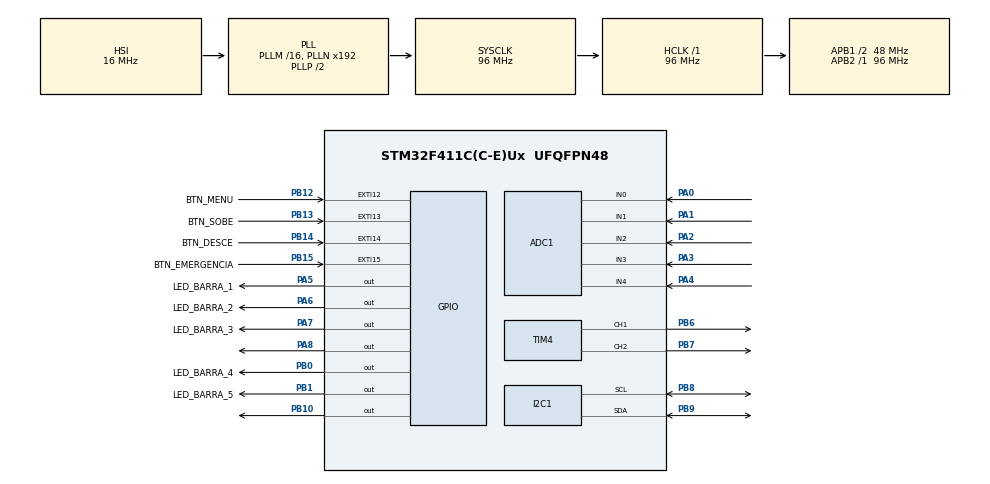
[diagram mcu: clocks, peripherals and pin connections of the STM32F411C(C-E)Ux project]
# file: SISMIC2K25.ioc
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ADC1.Channel-0\#ChannelRegularConversion=ADC_CHANNEL_0
ADC1.Channel-1\#ChannelInjectedConversion=ADC_CHANNEL_0
ADC1.Channel-2\#ChannelInjectedConversion=ADC_CHANNEL_0
ADC1.Channel-3\#ChannelInjectedConversion=ADC_CHANNEL_0
ADC1.Channel-4\#ChannelInjectedConversion=ADC_CHANNEL_0
ADC1.InjNumberOfConversion=4
ADC1.InjectedOffset-1\#ChannelInjectedConversion=0
ADC1.InjectedOffset-2\#ChannelInjectedConversion=0
ADC1.InjectedOffset-3\#ChannelInjectedConversion=0
ADC1.InjectedOffset-4\#ChannelInjectedConversion=0
ADC1.InjectedRank-1\#ChannelInjectedConversion=1
ADC1.InjectedRank-2\#ChannelInjectedConversion=2
ADC1.InjectedRank-3\#ChannelInjectedConversion=3
ADC1.InjectedRank-4\#ChannelInjectedConversion=4
ADC1.NbrOfConversionFlag=1
ADC1.Rank-0\#ChannelRegularConversion=1
ADC1.SamplingTime-0\#ChannelRegularConversion=ADC_SAMPLETIME_3CYCLES
ADC1.SamplingTime-1\#ChannelInjectedConversion=ADC_SAMPLETIME_3CYCLES
ADC1.SamplingTime-2\#ChannelInjectedConversion=ADC_SAMPLETIME_3CYCLES
ADC1.SamplingTime-3\#ChannelInjectedConversion=ADC_SAMPLETIME_3CYCLES
ADC1.SamplingTime-4\#ChannelInjectedConversion=ADC_SAMPLETIME_3CYCLES
ADC1.master=1
Mcu.Family=STM32F4
Mcu.Name=STM32F411C(C-E)Ux
Mcu.Package=UFQFPN48
NVIC.EXTI15_10_IRQn=true\:0\:0\:false\:false\:true\:true\:true\:true
NVIC.PriorityGroup=NVIC_PRIORITYGROUP_4
NVIC.TIM2_IRQn=true\:0\:0\:false\:false\:true\:true\:true\:true
NVIC.TIM3_IRQn=true\:0\:0\:false\:false\:true\:true\:true\:true
PA0-WKUP.Signal=ADCx_IN0
PA1.Signal=ADCx_IN1
PA13.Mode=Serial_Wire
PA13.Signal=SYS_JTMS-SWDIO
PA14.Mode=Serial_Wire
PA14.Signal=SYS_JTCK-SWCLK
PA2.Signal=ADCx_IN2
PA3.Signal=ADCx_IN3
PA4.Signal=ADCx_IN4
PA5.GPIO_Label=LED_BARRA_1
PA5.Signal=GPIO_Output
PA6.GPIO_Label=LED_BARRA_2
PA6.Signal=GPIO_Output
PA7.GPIO_Label=LED_BARRA_3
PA7.Signal=GPIO_Output
PA8.Signal=GPIO_Output
PB0.GPIO_Label=LED_BARRA_4
PB0.Signal=GPIO_Output
PB1.GPIO_Label=LED_BARRA_5
PB1.Signal=GPIO_Output
PB10.Signal=GPIO_Output
PB12.GPIO_Label=BTN_MENU
PB12.GPIO_ModeDefaultEXTI=GPIO_MODE_IT_FALLING
PB12.GPIO_PuPd=GPIO_PULLUP
PB12.Signal=GPXTI12
PB13.GPIO_Label=BTN_SOBE
PB13.GPIO_ModeDefaultEXTI=GPIO_MODE_IT_FALLING
PB13.GPIO_PuPd=GPIO_PULLUP
PB13.Signal=GPXTI13
PB14.GPIO_Label=BTN_DESCE
PB14.GPIO_ModeDefaultEXTI=GPIO_MODE_IT_FALLING
PB14.GPIO_PuPd=GPIO_PULLUP
PB14.Signal=GPXTI14
PB15.GPIO_Label=BTN_EMERGENCIA
PB15.GPIO_ModeDefaultEXTI=GPIO_MODE_IT_FALLING
PB15.GPIO_PuPd=GPIO_PULLUP
PB15.Signal=GPXTI15
PB6.Signal=S_TIM4_CH1
PB7.Signal=S_TIM4_CH2
PB8.Mode=I2C
PB8.Signal=I2C1_SCL
PB9.Mode=I2C
PB9.Signal=I2C1_SDA
PC14-OSC32_IN.Mode=LSE-External-Oscillator
PC14-OSC32_IN.Signal=RCC_OSC32_IN
PC15-OSC32_OUT.Mode=LSE-External-Oscillator
PC15-OSC32_OUT.Signal=RCC_OSC32_OUT
PH0\ -\ OSC_IN.Mode=HSE-External-Oscillator
PH0\ -\ OSC_IN.Signal=RCC_OSC_IN
PH1\ -\ OSC_OUT.Mode=HSE-External-Oscillator
PH1\ -\ OSC_OUT.Signal=RCC_OSC_OUT
ProjectManager.HeapSize=0x200
ProjectManager.StackSize=0x400
ProjectManager.TargetToolchain=STM32CubeIDE
RCC.AHBFreq_Value=96000000
RCC.APB1CLKDivider=RCC_HCLK_DIV2
RCC.APB1Freq_Value=48000000
RCC.APB1TimFreq_Value=96000000
RCC.APB2Freq_Value=96000000
RCC.APB2TimFreq_Value=96000000
RCC.CortexFreq_Value=96000000
RCC.HCLKFreq_Value=96000000
RCC.HSE_VALUE=25000000
RCC.HSI_VALUE=16000000
RCC.SYSCLKFreq_VALUE=96000000
RCC.SYSCLKSource=RCC_SYSCLKSOURCE_PLLCLK
RCC.VCOOutputFreq_Value=192000000
SH.ADCx_IN0.0=ADC1_IN0,IN0
SH.ADCx_IN1.0=ADC1_IN1,IN1
SH.ADCx_IN2.0=ADC1_IN2,IN2
SH.ADCx_IN3.0=ADC1_IN3,IN3
SH.ADCx_IN4.0=ADC1_IN4,IN4
SH.S_TIM4_CH1.0=TIM4_CH1,PWM Generation1 CH1
SH.S_TIM4_CH2.0=TIM4_CH2,PWM Generation2 CH2
TIM2.AutoReloadPreload=TIM_AUTORELOAD_PRELOAD_ENABLE
TIM2.Period=1999
TIM2.Prescaler=41999
TIM3.AutoReloadPreload=TIM_AUTORELOAD_PRELOAD_ENABLE
TIM3.Period=999
TIM3.Prescaler=41999
TIM4.Channel-PWM\ Generation1\ CH1=TIM_CHANNEL_1
TIM4.Channel-PWM\ Generation2\ CH2=TIM_CHANNEL_2
VP_TIM2_VS_ClockSourceINT.Mode=Internal
VP_TIM3_VS_ClockSourceINT.Mode=Internal
VP_TIM4_VS_ClockSourceINT.Mode=Internal
board=custom

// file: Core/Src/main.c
/* USER CODE BEGIN Header */
/**
  ******************************************************************************
  * @file           : main.c
  * @brief          : Main program body
  ******************************************************************************
  * @attention
  *
  * Copyright (c) 2025 STMicroelectronics.
  * All rights reserved.
  *
  * This software is licensed under terms that can be found in the LICENSE file
  * in the root directory of this software component.
  * If no LICENSE file comes with this software, it is provided AS-IS.
  *
  ******************************************************************************
  */
/* USER CODE END Header */
#include "main.h"

/* USER CODE BEGIN Includes */

#include "lcd_i2c.h"
#include <stdio.h> // Essencial para sprintf
#include <math.h>  // Para cálculos

/* USER CODE END Includes */

ADC_HandleTypeDef hadc1;
I2C_HandleTypeDef hi2c1;
TIM_HandleTypeDef htim2;
TIM_HandleTypeDef htim3;
TIM_HandleTypeDef htim4;

/* USER CODE BEGIN PV */

// ============================================================================
// 1. MÁQUINA DE ESTADOS
// ============================================================================
typedef enum {
  BOOT, GRID_MODE, SOLAR_MODE, BATTERY_MODE,
  PROT_SOBRECARGA, PROT_TERMICA, EMERGENCIA, ESTADO_SHUTDOWN
} SistemaEstado_t;

volatile SistemaEstado_t estado_atual = BOOT;
volatile SistemaEstado_t estado_anterior = BOOT;

// ============================================================================
// 2. SENSORES FÍSICOS (5 ADCs)
// ============================================================================
float v_rede = 0.0;        // PA0 - Tensão da Rede (0-300V)
float i_carga = 0.0;       // PA1 - Corrente da Carga (0-10A)
float v_solar = 0.0;       // PA2 - Tensão Solar (0-50V)
float temperatura = 0.0;   // PA3 - Temperatura (0-100°C)
float luminosidade = 0.0;  // PA4 - Sensor LDR (0-100%) ← NOVO!
float v_bateria = 12.6;    // Simulado (poderia ser PA5)

// ============================================================================
// 3. MODELOS MATEMÁTICOS E CÁLCULOS
// ============================================================================
float pot_rede = 0.0;
float pot_solar_w = 0.0;
float pot_total_w = 0.0;
float energia_kwh = 0.0;
float custo_reais = 0.0;
float carbono_kg = 0.0;
float soc_bateria = 100.0;
float autonomia_h = 99.0;
float frequencia = 60.0;
float fator_potencia = 0.92;

// ============================================================================
// 4. INTERFACE
// ============================================================================
LCD_HandleTypeDef lcd;       // ← Novo handle da biblioteca profissional
volatile int tela_lcd = 0;   // 0=Geral, 1=Carga, 2=Solar, 3=Bat, 4=Finan, 5=Tec
char buffer_lcd[32];

// ============================================================================
// 5. CONSTANTES DE PROTEÇÃO
// ============================================================================
const float LIMITE_CORRENTE = 8.0;
const float LIMITE_TEMP = 70.0;
const float LIMITE_BLACKOUT = 180.0;
const float LIMITE_BAT_MIN = 10.5;
const float TARIFA = 0.85;

// ============================================================================
// 6. CONTROLE DE INTERRUPÇÕES
// ============================================================================
volatile uint32_t flag_calculo_1s = 0;  // TIM2: Cálculos financeiros a cada 1s
volatile uint32_t ultimo_debounce = 0;  // Anti-repique de botões
volatile uint8_t flag_limpar_lcd = 0;     // Sinaliza que precisa limpar LCD
volatile uint8_t flag_atualizar_tela = 0; // Sinaliza que mudou de tela
volatile uint32_t tempo_botao_pressionado = 0;  // Contador de tempo do botão
volatile uint8_t flag_reset_sistema = 0;        // Sinaliza reset completo

/* USER CODE END PV */

void SystemClock_Config(void);
static void MX_GPIO_Init(void);
static void MX_ADC1_Init(void);
static void MX_I2C1_Init(void);
static void MX_TIM2_Init(void);
static void MX_TIM3_Init(void);
static void MX_TIM4_Init(void);

/* USER CODE BEGIN PFP */

// Funções de Atuadores
void AtualizarBarraLeds(float pct);
void AtualizarCooler(float temp);

uint32_t LerADC(uint32_t canal);

// Funções de Interface
void DesenharTela(void);
void TratarMudancaEstado(void);

/* USER CODE END PFP */

int main(void)
{

  /* MCU Configuration--------------------------------------------------------*/

  /* Reset of all peripherals, Initializes the Flash interface and the Systick. */
  HAL_Init();

  /* Configure the system clock */
  SystemClock_Config();

  /* Initialize all configured peripherals */
  MX_GPIO_Init();
  MX_ADC1_Init();
  MX_I2C1_Init();
  MX_TIM2_Init();
  MX_TIM3_Init();
  MX_TIM4_Init();
  /* USER CODE BEGIN 2 */

  // ============================================================================
    // INICIALIZAÇÃO DO SISTEMA
    // ============================================================================

    // Inicializa LCD (detecta endereço automaticamente)
    if(LCD_Init(&lcd, &hi2c1) != LCD_OK) {
        // LCD falhou! Pisca LED vermelho
        while(1) {
            HAL_GPIO_TogglePin(GPIOA, GPIO_PIN_8);
            HAL_Delay(200);
        }
    }

    // Inicia PWMs
    HAL_TIM_PWM_Start(&htim4, TIM_CHANNEL_1); // Cooler (PB6)
    HAL_TIM_PWM_Start(&htim4, TIM_CHANNEL_2); // LED Solar (PB7)

    // Inicia Interrupções de Timer
    HAL_TIM_Base_Start_IT(&htim2); // 1 segundo (cálculos financeiros)
    HAL_TIM_Base_Start_IT(&htim3); // 0.5 segundo (piscar LED no nobreak)

    // Tela de Abertura
    LCD_Clear(&lcd);
    LCD_PrintAt(&lcd, 0, 0, "SISMIC 2K25 v2.0");
    LCD_PrintAt(&lcd, 1, 0, "Guilherme Wilke");
    HAL_Delay(2000);

    LCD_Clear(&lcd);
    LCD_PrintAt(&lcd, 0, 0, "Inicializando...");
    LCD_PrintAt(&lcd, 1, 0, "[");

    // Barra de progresso de inicialização
    for(int i = 0; i < 14; i++) {
        LCD_Print(&lcd, "=");
        HAL_Delay(100);
    }
    LCD_Print(&lcd, "]");
    HAL_Delay(500);

    LCD_Clear(&lcd);
    estado_atual = GRID_MODE;

  /* USER CODE END 2 */

  /* Infinite loop */
  while (1)
  {

    /* USER CODE BEGIN 3 */

	  // ========================================================================
	      // 1. LEITURA DE SENSORES (5 ADCs)
	      // ========================================================================
	      v_rede = (float)LerADC(ADC_CHANNEL_0) * 0.0732;      // 0-300V
	      i_carga = (float)LerADC(ADC_CHANNEL_1) * 0.00244;    // 0-10A
	      v_solar = (float)LerADC(ADC_CHANNEL_2) * 0.0122;     // 0-50V
	      temperatura = (float)LerADC(ADC_CHANNEL_3) * 0.0244; // 0-100°C
	      luminosidade = (float)LerADC(ADC_CHANNEL_4) * 0.0244; // 0-100%

	      // ========================================================================
	      // 2. MODELOS MATEMÁTICOS E FÍSICA DO SISTEMA
	      // ========================================================================

	      // Modelo 1: Fator de Potência Dinâmico
	      fator_potencia = (i_carga > 1.0) ? 0.95 : 0.80;

	      // Modelo 2: Potência da Rede (P = V × I × FP)
	      float v_calc = (estado_atual == BATTERY_MODE) ? 220.0 : v_rede;
	      pot_rede = v_calc * i_carga * fator_potencia;

	      // Modelo 3: Potência Solar (ajustada por luminosidade)
	      if(v_solar > 12.0 && luminosidade > 20.0) {
	          pot_solar_w = (v_solar * 3.5) * (luminosidade / 100.0); // Afetada pela luz!
	      } else {
	          pot_solar_w = 0.0;
	      }

	      // Modelo 4: Potência Total
	      pot_total_w = pot_rede + pot_solar_w;

	      // Modelo 5 e 6: Simulação de Bateria (Carga/Descarga)
	      if (estado_atual == GRID_MODE || estado_atual == SOLAR_MODE) {
	          if (v_bateria < 13.8) v_bateria += 0.03; // Carregando
	          frequencia = 60.0;
	      } else if (estado_atual == BATTERY_MODE) {
	          float dreno = 0.02 + (i_carga * 0.01);
	          v_bateria -= dreno; // Descarregando
	          if(v_bateria < 0) v_bateria = 0;
	          frequencia = 59.5;
	      }

	      // Modelo 7: Cálculo de Autonomia (Ah × V / I)
	      if(i_carga > 0.5) {
	          autonomia_h = (50.0 * (v_bateria / 12.0)) / i_carga;
	      } else {
	          autonomia_h = 99.0;
	      }

	      // ========================================================================
	      // 3. MÁQUINA DE ESTADOS (8 Estados)
	      // ========================================================================
	      estado_anterior = estado_atual;

	      switch(estado_atual) {
	          case GRID_MODE:
	              HAL_GPIO_WritePin(GPIOB, GPIO_PIN_10, 1); // Verde ON
	              HAL_GPIO_WritePin(GPIOA, GPIO_PIN_8, 0);  // Vermelho OFF

	              // Transições
	              if (pot_solar_w > 50 && v_bateria > 13) estado_atual = SOLAR_MODE;
	              if (v_rede < LIMITE_BLACKOUT) estado_atual = BATTERY_MODE;
	              if (i_carga > LIMITE_CORRENTE) estado_atual = PROT_SOBRECARGA;
	              if (temperatura > LIMITE_TEMP) estado_atual = PROT_TERMICA;
	              break;

	          case SOLAR_MODE:
	              HAL_GPIO_WritePin(GPIOB, GPIO_PIN_10, 1);
	              HAL_GPIO_WritePin(GPIOA, GPIO_PIN_8, 0);

	              if (v_bateria < 12.2 || pot_solar_w < 10) estado_atual = GRID_MODE;
	              if (v_rede < LIMITE_BLACKOUT) estado_atual = BATTERY_MODE;
	              break;

	          case BATTERY_MODE:
	              HAL_GPIO_WritePin(GPIOB, GPIO_PIN_10, 0);
	              // LED vermelho pisca automaticamente via TIM3 (interrupção)

	              if (v_rede > (LIMITE_BLACKOUT + 10)) estado_atual = GRID_MODE;
	              if (v_bateria < LIMITE_BAT_MIN) estado_atual = ESTADO_SHUTDOWN;
	              break;

	          case PROT_SOBRECARGA:
	          case PROT_TERMICA:
	          case ESTADO_SHUTDOWN:
	          case EMERGENCIA:
	              HAL_GPIO_WritePin(GPIOA, GPIO_PIN_8, 1); // Vermelho FIXO
	              HAL_GPIO_WritePin(GPIOB, GPIO_PIN_10, 0);
	              pot_total_w = 0; // Corta carga

	              // Histerese automática (menos emergência)
	              if (i_carga < 1.0 && temperatura < 40.0 && v_rede > 200 && estado_atual != EMERGENCIA) {
	                   estado_atual = GRID_MODE;
	              }
	              break;

	          default:
	              estado_atual = GRID_MODE;
	              break;
	      }

	      // Detecta mudança de estado e atualiza LCD
	      if(estado_atual != estado_anterior) {
	          TratarMudancaEstado();
	      }

	      // ========================================================================
	      // 4. CÁLCULOS FINANCEIROS (executado via interrupção TIM2)
	      // ========================================================================
	      // NOTA: Modelos 8, 9, 10 são calculados em HAL_TIM_PeriodElapsedCallback()

	      if(flag_calculo_1s) {
	          flag_calculo_1s = 0;

	          // Modelo 8: Energia consumida (kWh)
	          energia_kwh += (pot_total_w / 1000.0) / 3600.0;

	          // Modelo 9: Custo financeiro (R$)
	          custo_reais = energia_kwh * TARIFA;

	          // Modelo 10: CO2 evitado (kg)
	          if (estado_atual == SOLAR_MODE) carbono_kg += 0.001;

	          // Modelo 11: State of Charge (%)
	          soc_bateria = ((v_bateria - 10.5) / (13.8 - 10.5)) * 100.0;
	          if(soc_bateria < 0) soc_bateria = 0;
	          if(soc_bateria > 100) soc_bateria = 100;
	      }

	      // ========================================================================
	      // 5. ATUALIZAÇÃO DA INTERFACE LCD
	      // ========================================================================
	      DesenharTela();

	      // ========================================================================
	      // 6. ATUADORES (LEDs e PWM)
	      // ========================================================================
	      if(estado_atual < PROT_SOBRECARGA) {
	          float pct = (pot_total_w * 100.0) / 2200.0;
	          AtualizarBarraLeds(pct);
	          AtualizarCooler(temperatura);

	          // PWM do LED Solar (proporcional à geração e luminosidade)
	          int pwm_solar = (int)(pot_solar_w * 100);
	          if(pwm_solar > 65535) pwm_solar = 65535;
	          __HAL_TIM_SET_COMPARE(&htim4, TIM_CHANNEL_2, pwm_solar);
	      } else {
	          AtualizarBarraLeds(0); // Apaga barra em erro
	          __HAL_TIM_SET_COMPARE(&htim4, TIM_CHANNEL_2, 0);
	      }

	      // ========================================================================
	      // 7. TRATAMENTO DE BOTÃO RESET LONGO (PB14)
	      // ========================================================================
	      // Verifica se o botão PB14 está sendo segurado
	      if(HAL_GPIO_ReadPin(GPIOB, GPIO_PIN_14) == GPIO_PIN_RESET && tempo_botao_pressionado > 0) {
	          uint32_t tempo_segurado = HAL_GetTick() - tempo_botao_pressionado;

	          // Se segurou por mais de 2 segundos
	          if(tempo_segurado >= 2000) {
	              flag_reset_sistema = 1;
	              tempo_botao_pressionado = 0; // Reseta contador
	          }
	      }

	      // Quando o botão é SOLTO
	      if(HAL_GPIO_ReadPin(GPIOB, GPIO_PIN_14) == GPIO_PIN_SET && tempo_botao_pressionado > 0) {
	          uint32_t tempo_segurado = HAL_GetTick() - tempo_botao_pressionado;
	          tempo_botao_pressionado = 0; // Reseta contador

	          // Se foi clique CURTO (menos de 2 segundos) → Reset de contadores
	          if(tempo_segurado < 2000) {
	              energia_kwh = 0.0;
	              custo_reais = 0.0;
	              carbono_kg = 0.0;
	              flag_atualizar_tela = 1;
	          }
	      }

	      // ========================================================================
	      // 8. EXECUÇÃO DO RESET COMPLETO DO SISTEMA
	      // ========================================================================
	      if(flag_reset_sistema) {
	          flag_reset_sistema = 0;

	          // Feedback visual
	          LCD_Clear(&lcd);
	          LCD_PrintAt(&lcd, 0, 0, "RESET SISTEMA");
	          LCD_PrintAt(&lcd, 1, 0, "Reiniciando...");

	          // Desliga todos os LEDs
	          HAL_GPIO_WritePin(GPIOA, GPIO_PIN_8, GPIO_PIN_RESET);
	          HAL_GPIO_WritePin(GPIOB, GPIO_PIN_10, GPIO_PIN_RESET);
	          AtualizarBarraLeds(0);

	          HAL_Delay(1500);

	          // RESET COMPLETO DO ESTADO
	          estado_atual = GRID_MODE;
	          estado_anterior = BOOT;

	          // Reseta variáveis críticas
	          v_bateria = 12.6;
	          pot_total_w = 0;

	          // Liga LED verde
	          HAL_GPIO_WritePin(GPIOB, GPIO_PIN_10, GPIO_PIN_SET);
	          HAL_GPIO_WritePin(GPIOA, GPIO_PIN_8, GPIO_PIN_RESET);

	          // Limpa LCD e volta ao normal
	          LCD_Clear(&lcd);
	          LCD_PrintAt(&lcd, 0, 0, "Sistema OK!");
	          LCD_PrintAt(&lcd, 1, 0, "Modo Rede Ativo");
	          HAL_Delay(1500);
	          LCD_Clear(&lcd);
	      }

	      // ========================================================================
	      // 9. RECOVERY AUTOMÁTICO DE SHUTDOWN (Bateria Vazia)
	      // ========================================================================
	      // Se está em SHUTDOWN mas a rede voltou, sai automaticamente
	      if(estado_atual == ESTADO_SHUTDOWN) {
	          if(v_rede > 200.0) {  // Se a rede voltou com tensão boa
	              // Simula que a bateria começou a carregar
	              v_bateria = 11.0;  // Valor acima do mínimo (10.5V)

	              // Volta para GRID_MODE
	              estado_atual = GRID_MODE;

	              // Feedback visual
	              LCD_Clear(&lcd);
	              LCD_PrintAt(&lcd, 0, 0, "REDE RESTAURADA!");
	              LCD_PrintAt(&lcd, 1, 0, "Carregando Bat..");
	              HAL_Delay(2000);
	              LCD_Clear(&lcd);
	          }
	      }

	      // ========================================================================
	      // 10. TRATAMENTO DE FLAGS DE INTERFACE
	      // ========================================================================
	      if(flag_limpar_lcd) {
	          flag_limpar_lcd = 0;
	          LCD_Clear(&lcd);
	      }

	      if(flag_atualizar_tela) {
	          flag_atualizar_tela = 0;

	          if(estado_atual == EMERGENCIA) {
	              LCD_Clear(&lcd);
	              LCD_PrintAt(&lcd, 0, 0, "! EMERGENCIA !");
	              LCD_PrintAt(&lcd, 1, 0, "Segure Reset 2s");  // ← DICA PARA O USUÁRIO!
	              HAL_Delay(2000);
	          } else {
	              LCD_Clear(&lcd);
	              LCD_PrintAt(&lcd, 0, 0, "CONTADORES");
	              LCD_PrintAt(&lcd, 1, 0, "RESETADOS!");
	              HAL_Delay(1000);
	              LCD_Clear(&lcd);
	          }
	      }

	      HAL_Delay(100); // Loop a 10Hz

  }
  /* USER CODE END 3 */
}

void SystemClock_Config(void)
{
  RCC_OscInitTypeDef RCC_OscInitStruct = {0};
  RCC_ClkInitTypeDef RCC_ClkInitStruct = {0};

  /** Configure the main internal regulator output voltage
  */
  __HAL_RCC_PWR_CLK_ENABLE();
  __HAL_PWR_VOLTAGESCALING_CONFIG(PWR_REGULATOR_VOLTAGE_SCALE1);

  /** Initializes the RCC Oscillators according to the specified parameters
  * in the RCC_OscInitTypeDef structure.
  */
  RCC_OscInitStruct.OscillatorType = RCC_OSCILLATORTYPE_HSI;
  RCC_OscInitStruct.HSIState = RCC_HSI_ON;
  RCC_OscInitStruct.HSICalibrationValue = RCC_HSICALIBRATION_DEFAULT;
  RCC_OscInitStruct.PLL.PLLState = RCC_PLL_ON;
  RCC_OscInitStruct.PLL.PLLSource = RCC_PLLSOURCE_HSI;
  RCC_OscInitStruct.PLL.PLLM = 16;
  RCC_OscInitStruct.PLL.PLLN = 192;
  RCC_OscInitStruct.PLL.PLLP = RCC_PLLP_DIV2;
  RCC_OscInitStruct.PLL.PLLQ = 4;
  if (HAL_RCC_OscConfig(&RCC_OscInitStruct) != HAL_OK)
  {
    Error_Handler();
  }

  /** Initializes the CPU, AHB and APB buses clocks
  */
  RCC_ClkInitStruct.ClockType = RCC_CLOCKTYPE_HCLK|RCC_CLOCKTYPE_SYSCLK
                              |RCC_CLOCKTYPE_PCLK1|RCC_CLOCKTYPE_PCLK2;
  RCC_ClkInitStruct.SYSCLKSource = RCC_SYSCLKSOURCE_PLLCLK;
  RCC_ClkInitStruct.AHBCLKDivider = RCC_SYSCLK_DIV1;
  RCC_ClkInitStruct.APB1CLKDivider = RCC_HCLK_DIV2;
  RCC_ClkInitStruct.APB2CLKDivider = RCC_HCLK_DIV1;

  if (HAL_RCC_ClockConfig(&RCC_ClkInitStruct, FLASH_LATENCY_3) != HAL_OK)
  {
    Error_Handler();
  }
}

static void MX_ADC1_Init(void)
{

  ADC_ChannelConfTypeDef sConfig = {0};
  ADC_InjectionConfTypeDef sConfigInjected = {0};

  /** Configure the global features of the ADC (Clock, Resolution, Data Alignment and number of conversion)
  */
  hadc1.Instance = ADC1;
  hadc1.Init.ClockPrescaler = ADC_CLOCK_SYNC_PCLK_DIV4;
  hadc1.Init.Resolution = ADC_RESOLUTION_12B;
  hadc1.Init.ScanConvMode = ENABLE;
  hadc1.Init.ContinuousConvMode = DISABLE;
  hadc1.Init.DiscontinuousConvMode = DISABLE;
  hadc1.Init.ExternalTrigConvEdge = ADC_EXTERNALTRIGCONVEDGE_NONE;
  hadc1.Init.ExternalTrigConv = ADC_SOFTWARE_START;
  hadc1.Init.DataAlign = ADC_DATAALIGN_RIGHT;
  hadc1.Init.NbrOfConversion = 1;
  hadc1.Init.DMAContinuousRequests = DISABLE;
  hadc1.Init.EOCSelection = ADC_EOC_SINGLE_CONV;
  if (HAL_ADC_Init(&hadc1) != HAL_OK)
  {
    Error_Handler();
  }

  /** Configure for the selected ADC regular channel its corresponding rank in the sequencer and its sample time.
  */
  sConfig.Channel = ADC_CHANNEL_0;
  sConfig.Rank = 1;
  sConfig.SamplingTime = ADC_SAMPLETIME_3CYCLES;
  if (HAL_ADC_ConfigChannel(&hadc1, &sConfig) != HAL_OK)
  {
    Error_Handler();
  }

  /** Configures for the selected ADC injected channel its corresponding rank in the sequencer and its sample time
  */
  sConfigInjected.InjectedChannel = ADC_CHANNEL_0;
  sConfigInjected.InjectedRank = 1;
  sConfigInjected.InjectedNbrOfConversion = 4;
  sConfigInjected.InjectedSamplingTime = ADC_SAMPLETIME_3CYCLES;
  sConfigInjected.ExternalTrigInjecConvEdge = ADC_EXTERNALTRIGINJECCONVEDGE_NONE;
  sConfigInjected.ExternalTrigInjecConv = ADC_INJECTED_SOFTWARE_START;
  sConfigInjected.AutoInjectedConv = DISABLE;
  sConfigInjected.InjectedDiscontinuousConvMode = DISABLE;
  sConfigInjected.InjectedOffset = 0;
  if (HAL_ADCEx_InjectedConfigChannel(&hadc1, &sConfigInjected) != HAL_OK)
  {
    Error_Handler();
  }

  /** Configures for the selected ADC injected channel its corresponding rank in the sequencer and its sample time
  */
  sConfigInjected.InjectedRank = 2;
  if (HAL_ADCEx_InjectedConfigChannel(&hadc1, &sConfigInjected) != HAL_OK)
  {
    Error_Handler();
  }

  /** Configures for the selected ADC injected channel its corresponding rank in the sequencer and its sample time
  */
  sConfigInjected.InjectedRank = 3;
  if (HAL_ADCEx_InjectedConfigChannel(&hadc1, &sConfigInjected) != HAL_OK)
  {
    Error_Handler();
  }

  /** Configures for the selected ADC injected channel its corresponding rank in the sequencer and its sample time
  */
  sConfigInjected.InjectedRank = 4;
  if (HAL_ADCEx_InjectedConfigChannel(&hadc1, &sConfigInjected) != HAL_OK)
  {
    Error_Handler();
  }

}

static void MX_I2C1_Init(void)
{

  hi2c1.Instance = I2C1;
  hi2c1.Init.ClockSpeed = 100000;
  hi2c1.Init.DutyCycle = I2C_DUTYCYCLE_2;
  hi2c1.Init.OwnAddress1 = 0;
  hi2c1.Init.AddressingMode = I2C_ADDRESSINGMODE_7BIT;
  hi2c1.Init.DualAddressMode = I2C_DUALADDRESS_DISABLE;
  hi2c1.Init.OwnAddress2 = 0;
  hi2c1.Init.GeneralCallMode = I2C_GENERALCALL_DISABLE;
  hi2c1.Init.NoStretchMode = I2C_NOSTRETCH_DISABLE;
  if (HAL_I2C_Init(&hi2c1) != HAL_OK)
  {
    Error_Handler();
  }

}

static void MX_TIM2_Init(void)
{

  TIM_ClockConfigTypeDef sClockSourceConfig = {0};
  TIM_MasterConfigTypeDef sMasterConfig = {0};

  htim2.Instance = TIM2;
  htim2.Init.Prescaler = 41999;
  htim2.Init.CounterMode = TIM_COUNTERMODE_UP;
  htim2.Init.Period = 1999;
  htim2.Init.ClockDivision = TIM_CLOCKDIVISION_DIV1;
  htim2.Init.AutoReloadPreload = TIM_AUTORELOAD_PRELOAD_ENABLE;
  if (HAL_TIM_Base_Init(&htim2) != HAL_OK)
  {
    Error_Handler();
  }
  sClockSourceConfig.ClockSource = TIM_CLOCKSOURCE_INTERNAL;
  if (HAL_TIM_ConfigClockSource(&htim2, &sClockSourceConfig) != HAL_OK)
  {
    Error_Handler();
  }
  sMasterConfig.MasterOutputTrigger = TIM_TRGO_RESET;
  sMasterConfig.MasterSlaveMode = TIM_MASTERSLAVEMODE_DISABLE;
  if (HAL_TIMEx_MasterConfigSynchronization(&htim2, &sMasterConfig) != HAL_OK)
  {
    Error_Handler();
  }

}

static void MX_TIM3_Init(void)
{

  TIM_ClockConfigTypeDef sClockSourceConfig = {0};
  TIM_MasterConfigTypeDef sMasterConfig = {0};

  htim3.Instance = TIM3;
  htim3.Init.Prescaler = 41999;
  htim3.Init.CounterMode = TIM_COUNTERMODE_UP;
  htim3.Init.Period = 999;
  htim3.Init.ClockDivision = TIM_CLOCKDIVISION_DIV1;
  htim3.Init.AutoReloadPreload = TIM_AUTORELOAD_PRELOAD_ENABLE;
  if (HAL_TIM_Base_Init(&htim3) != HAL_OK)
  {
    Error_Handler();
  }
  sClockSourceConfig.ClockSource = TIM_CLOCKSOURCE_INTERNAL;
  if (HAL_TIM_ConfigClockSource(&htim3, &sClockSourceConfig) != HAL_OK)
  {
    Error_Handler();
  }
  sMasterConfig.MasterOutputTrigger = TIM_TRGO_RESET;
  sMasterConfig.MasterSlaveMode = TIM_MASTERSLAVEMODE_DISABLE;
  if (HAL_TIMEx_MasterConfigSynchronization(&htim3, &sMasterConfig) != HAL_OK)
  {
    Error_Handler();
  }

}

static void MX_TIM4_Init(void)
{

  TIM_ClockConfigTypeDef sClockSourceConfig = {0};
  TIM_MasterConfigTypeDef sMasterConfig = {0};
  TIM_OC_InitTypeDef sConfigOC = {0};

  htim4.Instance = TIM4;
  htim4.Init.Prescaler = 0;
  htim4.Init.CounterMode = TIM_COUNTERMODE_UP;
  htim4.Init.Period = 65535;
  htim4.Init.ClockDivision = TIM_CLOCKDIVISION_DIV1;
  htim4.Init.AutoReloadPreload = TIM_AUTORELOAD_PRELOAD_DISABLE;
  if (HAL_TIM_Base_Init(&htim4) != HAL_OK)
  {
    Error_Handler();
  }
  sClockSourceConfig.ClockSource = TIM_CLOCKSOURCE_INTERNAL;
  if (HAL_TIM_ConfigClockSource(&htim4, &sClockSourceConfig) != HAL_OK)
  {
    Error_Handler();
  }
  if (HAL_TIM_PWM_Init(&htim4) != HAL_OK)
  {
    Error_Handler();
  }
  sMasterConfig.MasterOutputTrigger = TIM_TRGO_RESET;
  sMasterConfig.MasterSlaveMode = TIM_MASTERSLAVEMODE_DISABLE;
  if (HAL_TIMEx_MasterConfigSynchronization(&htim4, &sMasterConfig) != HAL_OK)
  {
    Error_Handler();
  }
  sConfigOC.OCMode = TIM_OCMODE_PWM1;
  sConfigOC.Pulse = 0;
  sConfigOC.OCPolarity = TIM_OCPOLARITY_HIGH;
  sConfigOC.OCFastMode = TIM_OCFAST_DISABLE;
  if (HAL_TIM_PWM_ConfigChannel(&htim4, &sConfigOC, TIM_CHANNEL_1) != HAL_OK)
  {
    Error_Handler();
  }
  if (HAL_TIM_PWM_ConfigChannel(&htim4, &sConfigOC, TIM_CHANNEL_2) != HAL_OK)
  {
    Error_Handler();
  }
  HAL_TIM_MspPostInit(&htim4);

}

static void MX_GPIO_Init(void)
{
  GPIO_InitTypeDef GPIO_InitStruct = {0};

  /* GPIO Ports Clock Enable */
  __HAL_RCC_GPIOC_CLK_ENABLE();
  __HAL_RCC_GPIOH_CLK_ENABLE();
  __HAL_RCC_GPIOA_CLK_ENABLE();
  __HAL_RCC_GPIOB_CLK_ENABLE();

  /*Configure GPIO pin Output Level */
  HAL_GPIO_WritePin(GPIOA, LED_BARRA_1_Pin|LED_BARRA_2_Pin|LED_BARRA_3_Pin|GPIO_PIN_8, GPIO_PIN_RESET);

  /*Configure GPIO pin Output Level */
  HAL_GPIO_WritePin(GPIOB, LED_BARRA_4_Pin|LED_BARRA_5_Pin|GPIO_PIN_10, GPIO_PIN_RESET);

  /*Configure GPIO pins : LED_BARRA_1_Pin LED_BARRA_2_Pin LED_BARRA_3_Pin PA8 */
  GPIO_InitStruct.Pin = LED_BARRA_1_Pin|LED_BARRA_2_Pin|LED_BARRA_3_Pin|GPIO_PIN_8;
  GPIO_InitStruct.Mode = GPIO_MODE_OUTPUT_PP;
  GPIO_InitStruct.Pull = GPIO_NOPULL;
  GPIO_InitStruct.Speed = GPIO_SPEED_FREQ_LOW;
  HAL_GPIO_Init(GPIOA, &GPIO_InitStruct);

  /*Configure GPIO pins : LED_BARRA_4_Pin LED_BARRA_5_Pin PB10 */
  GPIO_InitStruct.Pin = LED_BARRA_4_Pin|LED_BARRA_5_Pin|GPIO_PIN_10;
  GPIO_InitStruct.Mode = GPIO_MODE_OUTPUT_PP;
  GPIO_InitStruct.Pull = GPIO_NOPULL;
  GPIO_InitStruct.Speed = GPIO_SPEED_FREQ_LOW;
  HAL_GPIO_Init(GPIOB, &GPIO_InitStruct);

  /*Configure GPIO pins : BTN_MENU_Pin BTN_SOBE_Pin BTN_DESCE_Pin BTN_EMERGENCIA_Pin */
  GPIO_InitStruct.Pin = BTN_MENU_Pin|BTN_SOBE_Pin|BTN_DESCE_Pin|BTN_EMERGENCIA_Pin;
  GPIO_InitStruct.Mode = GPIO_MODE_IT_FALLING;
  GPIO_InitStruct.Pull = GPIO_PULLUP;
  HAL_GPIO_Init(GPIOB, &GPIO_InitStruct);

  /* EXTI interrupt init*/
  HAL_NVIC_SetPriority(EXTI15_10_IRQn, 0, 0);
  HAL_NVIC_EnableIRQ(EXTI15_10_IRQn);

}

/* USER CODE BEGIN 4 */

// ============================================================================
// FUNÇÕES DE INTERFACE
// ============================================================================

void DesenharTela(void) {
    static uint32_t ultimo_update = 0;

    if((HAL_GetTick() - ultimo_update) < 500) return;
    ultimo_update = HAL_GetTick();

    LCD_SetCursor(&lcd, 0, 0);

    // TELAS DE ERRO - Com instruções de recovery
    if (estado_atual >= PROT_SOBRECARGA) {
        LCD_PrintAt(&lcd, 0, 0, "! FALHA ATIVA !");
        LCD_SetCursor(&lcd, 1, 0);

        switch(estado_atual) {
            case EMERGENCIA:
                LCD_Print(&lcd, "Segure Reset 2s  "); // ← Instrução de reset
                break;
            case PROT_SOBRECARGA:
                LCD_Print(&lcd, "SOBRECORRENTE!  ");
                break;
            case PROT_TERMICA:
                LCD_Print(&lcd, "SOBREAQUECIMENTO");
                break;
            case ESTADO_SHUTDOWN:
                LCD_Print(&lcd, "Aguarde Rede... "); // ← Indica que vai sair automaticamente
                break;
            default:
                LCD_Print(&lcd, "ERRO SISTEMA    ");
                break;
        }
    } else {
        // Telas normais (6 opções) - MANTÉM IGUAL
        int bat_i = (int)v_bateria;
        int bat_d = (int)((v_bateria - bat_i)*10);

        switch(tela_lcd) {
            case 0: // GERAL
                if(estado_atual == GRID_MODE)
                    sprintf(buffer_lcd, "REDE OK  B:%d.%dV", bat_i, bat_d);
                else if(estado_atual == BATTERY_MODE)
                    sprintf(buffer_lcd, "NOBREAK! B:%d.%dV", bat_i, bat_d);
                else
                    sprintf(buffer_lcd, "MODO SOLAR ECO  ");

                LCD_Print(&lcd, buffer_lcd);
                LCD_SetCursor(&lcd, 1, 0);
                sprintf(buffer_lcd, "%3dV %4dW %2dC", (int)v_rede, (int)pot_total_w, (int)temperatura);
                LCD_Print(&lcd, buffer_lcd);
                break;

            case 1: // CARGA
                LCD_Print(&lcd, "MONITOR CARGA:  ");
                LCD_SetCursor(&lcd, 1, 0);
                sprintf(buffer_lcd, "%4dW  %d.%02dA    ", (int)pot_total_w, (int)i_carga, (int)((i_carga-(int)i_carga)*100));
                LCD_Print(&lcd, buffer_lcd);
                break;

            case 2: // SOLAR
                LCD_Print(&lcd, "GERACAO SOLAR:  ");
                LCD_SetCursor(&lcd, 1, 0);
                sprintf(buffer_lcd, "%4dW Luz:%d%%   ", (int)pot_solar_w, (int)luminosidade);
                LCD_Print(&lcd, buffer_lcd);
                break;

            case 3: // BATERIA
                LCD_Print(&lcd, "BANCO BATERIAS: ");
                LCD_SetCursor(&lcd, 1, 0);
                sprintf(buffer_lcd, "%d.%dV Auto:%dh  ", bat_i, bat_d, (int)autonomia_h);
                LCD_Print(&lcd, buffer_lcd);
                break;

            case 4: // FINANCEIRO
                sprintf(buffer_lcd, "Gasto:R$%d.%02d  ", (int)custo_reais, (int)((custo_reais-(int)custo_reais)*100));
                LCD_Print(&lcd, buffer_lcd);
                LCD_SetCursor(&lcd, 1, 0);
                sprintf(buffer_lcd, "CO2 Evit: %dkg  ", (int)carbono_kg);
                LCD_Print(&lcd, buffer_lcd);
                break;

            case 5: // TÉCNICO
                sprintf(buffer_lcd, "T:%2dC Fq:%2dHz  ", (int)temperatura, (int)frequencia);
                LCD_Print(&lcd, buffer_lcd);
                LCD_SetCursor(&lcd, 1, 0);
                LCD_Print(&lcd, "SISMIC v2.0 OK  ");
                break;
        }
    }
}

void TratarMudancaEstado(void) {
    LCD_Clear(&lcd);

    // Feedback visual ao trocar de estado crítico
    if(estado_atual == BATTERY_MODE) {
        LCD_PrintAt(&lcd, 0, 0, "! BLACKOUT !");
        LCD_PrintAt(&lcd, 1, 0, "Modo Bateria...");
        HAL_Delay(1500);
        LCD_Clear(&lcd);
    } else if(estado_atual == SOLAR_MODE) {
        LCD_PrintAt(&lcd, 0, 0, "Modo Solar Ativo");
        LCD_PrintAt(&lcd, 1, 0, "Economia de Rede");
        HAL_Delay(1500);
        LCD_Clear(&lcd);
    }
}

// ============================================================================
// FUNÇÕES DE ATUADORES
// ============================================================================

void AtualizarBarraLeds(float pct) {
    // Apaga todos os LEDs primeiro
    HAL_GPIO_WritePin(GPIOA, GPIO_PIN_5, 0);
    HAL_GPIO_WritePin(GPIOA, GPIO_PIN_6, 0);
    HAL_GPIO_WritePin(GPIOA, GPIO_PIN_7, 0);
    HAL_GPIO_WritePin(GPIOB, GPIO_PIN_0, 0);
    HAL_GPIO_WritePin(GPIOB, GPIO_PIN_1, 0);

    // Acende proporcionalmente
    if(pct > 10) HAL_GPIO_WritePin(GPIOA, GPIO_PIN_5, 1);
    if(pct > 30) HAL_GPIO_WritePin(GPIOA, GPIO_PIN_6, 1);
    if(pct > 50) HAL_GPIO_WritePin(GPIOA, GPIO_PIN_7, 1);
    if(pct > 70) HAL_GPIO_WritePin(GPIOB, GPIO_PIN_0, 1);
    if(pct > 90) HAL_GPIO_WritePin(GPIOB, GPIO_PIN_1, 1);
}

void AtualizarCooler(float temp) {
    int pwm = 0;

    if (temp > 70) {
        pwm = 65535;
    } else if (temp > 30) {

        pwm = (int)((temp - 30) * (65535.0 / 40.0));
    }

    __HAL_TIM_SET_COMPARE(&htim4, TIM_CHANNEL_1, pwm);
}

// ============================================================================
// FUNÇÃO DE LEITURA ADC
// ============================================================================

uint32_t LerADC(uint32_t canal) {
    ADC_ChannelConfTypeDef sConfig = {0};
    sConfig.Channel = canal;
    sConfig.Rank = 1;
    sConfig.SamplingTime = ADC_SAMPLETIME_15CYCLES;

    HAL_ADC_ConfigChannel(&hadc1, &sConfig);
    HAL_ADC_Start(&hadc1);
    HAL_ADC_PollForConversion(&hadc1, 10);
    uint32_t valor = HAL_ADC_GetValue(&hadc1);
    HAL_ADC_Stop(&hadc1);

    return valor;
}

// ============================================================================
// INTERRUPÇÃO 1: BOTÕES VIA EXTI (Resposta Instantânea)
// ============================================================================
void HAL_GPIO_EXTI_Callback(uint16_t GPIO_Pin) {
    uint32_t agora = HAL_GetTick();

    // Debounce de 200ms (exceto para PB14 que precisa detectar pressionamento longo)
    if(GPIO_Pin != GPIO_PIN_14 && (agora - ultimo_debounce) < 200) return;

    switch(GPIO_Pin) {
        case GPIO_PIN_12: // MENU (avança tela)
            if((agora - ultimo_debounce) < 200) return;
            ultimo_debounce = agora;

            tela_lcd++;
            if(tela_lcd > 5) tela_lcd = 0;
            flag_limpar_lcd = 1;
            break;

        case GPIO_PIN_13: // SOBE (volta tela)
            if((agora - ultimo_debounce) < 200) return;
            ultimo_debounce = agora;

            tela_lcd--;
            if(tela_lcd < 0) tela_lcd = 5;
            flag_limpar_lcd = 1;
            break;

        case GPIO_PIN_14: // RESET/OK (dupla função: curto=reset contadores, longo=reset sistema)
            // Detecta quando o botão é PRESSIONADO (borda de descida)
            if(HAL_GPIO_ReadPin(GPIOB, GPIO_PIN_14) == GPIO_PIN_RESET) {
                tempo_botao_pressionado = agora; // Marca o tempo inicial
            }
            break;

        case GPIO_PIN_15: // EMERGÊNCIA
            if((agora - ultimo_debounce) < 200) return;
            ultimo_debounce = agora;

            estado_atual = EMERGENCIA;
            flag_atualizar_tela = 1;
            break;
    }
}

// ============================================================================
// INTERRUPÇÃO 2 e 3: TIMERS (TIM2 = 1s, TIM3 = 0.5s)
// ============================================================================
void HAL_TIM_PeriodElapsedCallback(TIM_HandleTypeDef *htim) {
    // TIM2: Cálculos financeiros a cada 1 segundo
    if(htim->Instance == TIM2) {
        flag_calculo_1s = 1;
    }

    // TIM3: Piscar LED vermelho no modo BATTERY (0.5s)
    if(htim->Instance == TIM3) {
        if(estado_atual == BATTERY_MODE) {
            HAL_GPIO_TogglePin(GPIOA, GPIO_PIN_8);
        }
    }
}

/* USER CODE END 4 */

void Error_Handler(void)
{
  __disable_irq();
  while (1)
  {
  }
}
